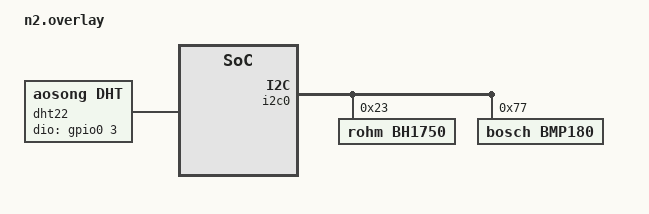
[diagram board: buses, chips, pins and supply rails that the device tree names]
/ {
	zephyr,user {
		env-sensors = <&bmp180 &dht22 &bh1750>;
	};

	dht22: dht22 {
		compatible = "aosong,dht";
		dht22;
		dio-gpios = <&gpio0 3 GPIO_PULL_UP>;
		status = "okay";
	};
};

&i2c0 {
	bh1750: bh1750@23 {
		compatible = "rohm,bh1750";
		reg = <0x23>;
		status = "okay";
	};

	bmp180: bmp180@77 {
		compatible = "bosch,bmp180";
		osr-press = <1>;
		reg = <0x77>;
		status = "okay";
	};
};
